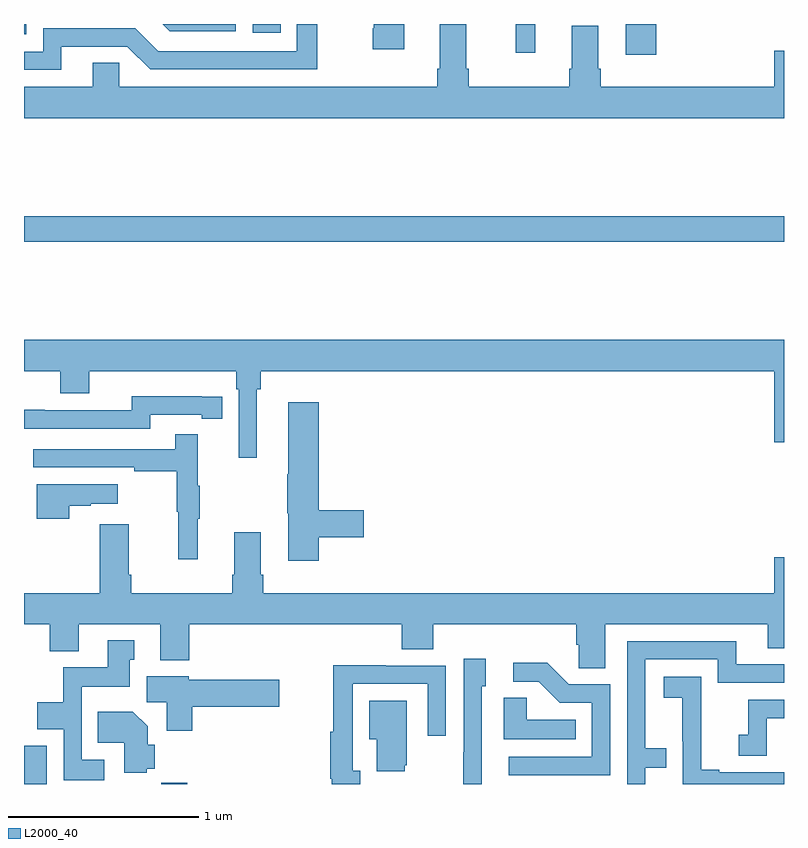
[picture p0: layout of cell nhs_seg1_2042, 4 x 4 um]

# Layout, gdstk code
import gdstk
lib = gdstk.Library(unit=1e-6, precision=1e-09)
def R(c, l, rs):  # rectangles x0, y0, x1, y1
    for r in rs: c.add(gdstk.rectangle(r[:2], r[2:], *l))
def P(c, l, *ps):  # polygons
    for p in ps: c.add(gdstk.Polygon(p, *l))
L2000_40 = (2000, 40)

nhs_seg1_2042 = lib.new_cell('nhs_seg1_2042')
R(nhs_seg1_2042, L2000_40, [(221,576.199,221.119,576.4), (221.723,576.199,221.858,576.205), (221,579.052,225,579.188), (224.168,580.038,224.327,580.199), (223.588,580.047,223.691,580.199), (221,580.145,221.013,580.199), (222.204,580.152,222.35,580.199)])
P(nhs_seg1_2042, L2000_40, [(221.197,580.08),(221.544,580.08),(221.664,579.96),(222.544,579.96),(222.544,580.199),(222.435,580.199),(222.435,580.056),(221.706,580.056),(221.586,580.176),(221.1,580.176),(221.1,580.053),(221,580.053),(221,579.957),(221.197,579.957)],
  [(222.114,580.199),(221.73,580.199),(221.768,580.161),(222.114,580.161)],
  [(223,580.199),(222.842,580.199),(222.842,580.177),(222.835,580.177),(222.835,580.065),(223,580.065)],
  [(225,580.057),(224.948,580.057),(224.948,579.868),(224.036,579.868),(224.036,579.964),(224.023,579.964),(224.023,580.189),(223.883,580.189),(223.883,579.964),(223.871,579.964),(223.871,579.868),(223.34,579.868),(223.34,579.964),(223.327,579.964),(223.327,580.199),(223.187,580.199),(223.187,579.964),(223.175,579.964),(223.175,579.868),(221.502,579.868),(221.502,579.995),(221.363,579.995),(221.363,579.868),(221,579.868),(221,579.704),(225,579.704)],
  [(222.226,578.276),(222.245,578.276),(222.245,578.372),(224.948,578.372),(224.948,577.998),(225,577.998),(225,578.536),(221,578.536),(221,578.372),(221.192,578.372),(221.192,578.255),(221.344,578.255),(221.344,578.372),(222.116,578.372),(222.116,578.276),(222.129,578.276),(222.129,577.917),(222.226,577.917)],
  [(221.664,578.142),(221.936,578.142),(221.936,578.122),(222.044,578.122),(222.044,578.238),(221.936,578.238),(221.936,578.239),(221.568,578.239),(221.568,578.166),(221.108,578.166),(221.108,578.168),(221,578.168),(221,578.07),(221.664,578.07)],
  [(222.551,577.498),(222.787,577.498),(222.787,577.64),(222.551,577.64),(222.551,578.209),(222.392,578.209),(222.392,577.829),(222.385,577.829),(222.385,577.623),(222.392,577.623),(222.392,577.374),(222.551,577.374)],
  [(221.915,577.595),(221.926,577.595),(221.926,577.769),(221.915,577.769),(221.915,578.041),(221.797,578.041),(221.797,577.962),(221.049,577.962),(221.049,577.866),(221.581,577.866),(221.581,577.846),(221.805,577.846),(221.805,577.632),(221.812,577.632),(221.812,577.383),(221.915,577.383)],
  [(221.237,577.663),(221.351,577.663),(221.351,577.673),(221.494,577.673),(221.494,577.777),(221.066,577.777),(221.066,577.596),(221.237,577.596)],
  [(224.059,577.04),(224.915,577.04),(224.915,576.913),(225,576.913),(225,577.393),(224.948,577.393),(224.948,577.204),(222.26,577.204),(222.26,577.3),(222.247,577.3),(222.247,577.525),(222.107,577.525),(222.107,577.3),(222.095,577.3),(222.095,577.204),(221.564,577.204),(221.564,577.3),(221.551,577.3),(221.551,577.567),(221.399,577.567),(221.399,577.204),(221,577.204),(221,577.04),(221.135,577.04),(221.135,576.899),(221.287,576.899),(221.287,577.04),(221.717,577.04),(221.717,576.851),(221.87,576.851),(221.87,577.04),(222.989,577.04),(222.989,576.907),(223.154,576.907),(223.154,577.04),(223.907,577.04),(223.907,576.931),(223.92,576.931),(223.92,576.808),(224.059,576.808)],
  [(221.422,576.327),(221.304,576.327),(221.304,576.71),(221.557,576.71),(221.557,576.852),(221.581,576.852),(221.581,576.955),(221.441,576.955),(221.441,576.814),(221.206,576.814),(221.206,576.628),(221.069,576.628),(221.069,576.488),(221.208,576.488),(221.208,576.219),(221.422,576.219)],
  [(224.271,576.285),(224.381,576.285),(224.381,576.386),(224.271,576.386),(224.271,576.855),(224.652,576.855),(224.652,576.732),(225,576.732),(225,576.828),(224.749,576.828),(224.749,576.951),(224.175,576.951),(224.175,576.199),(224.271,576.199)],
  [(223.41,576.714),(223.429,576.714),(223.429,576.859),(223.314,576.859),(223.314,576.365),(223.312,576.365),(223.312,576.199),(223.41,576.199)],
  [(224.085,576.723),(223.866,576.723),(223.753,576.836),(223.575,576.836),(223.575,576.738),(223.709,576.738),(223.82,576.627),(223.989,576.627),(223.989,576.342),(223.551,576.342),(223.551,576.246),(224.085,576.246)],
  [(222.769,576.27),(222.729,576.27),(222.729,576.726),(223.125,576.726),(223.125,576.453),(223.221,576.453),(223.221,576.822),(222.905,576.822),(222.905,576.824),(222.628,576.824),(222.628,576.473),(222.613,576.473),(222.613,576.226),(222.621,576.226),(222.621,576.199),(222.769,576.199)],
  [(221.885,576.605),(222.343,576.605),(222.343,576.747),(221.868,576.747),(221.868,576.766),(221.645,576.766),(221.645,576.628),(221.75,576.628),(221.75,576.48),(221.885,576.48)],
  [(225,576.261),(224.659,576.261),(224.659,576.274),(224.564,576.274),(224.564,576.557),(224.565,576.557),(224.565,576.763),(224.367,576.763),(224.367,576.653),(224.465,576.653),(224.465,576.425),(224.466,576.425),(224.466,576.199),(225,576.199)],
  [(223.904,576.538),(223.647,576.538),(223.647,576.653),(223.526,576.653),(223.526,576.434),(223.904,576.434)],
  [(224.91,576.546),(225,576.546),(225,576.642),(224.812,576.642),(224.812,576.457),(224.763,576.457),(224.763,576.348),(224.91,576.348)],
  [(223.004,576.297),(223.015,576.297),(223.015,576.637),(222.818,576.637),(222.818,576.434),(222.857,576.434),(222.857,576.266),(223.004,576.266)],
  [(221.646,576.278),(221.689,576.278),(221.689,576.406),(221.65,576.406),(221.65,576.502),(221.572,576.58),(221.389,576.58),(221.389,576.416),(221.528,576.416),(221.528,576.259),(221.646,576.259)])

lib.write_gds('nhs_seg1_2042.gds')
